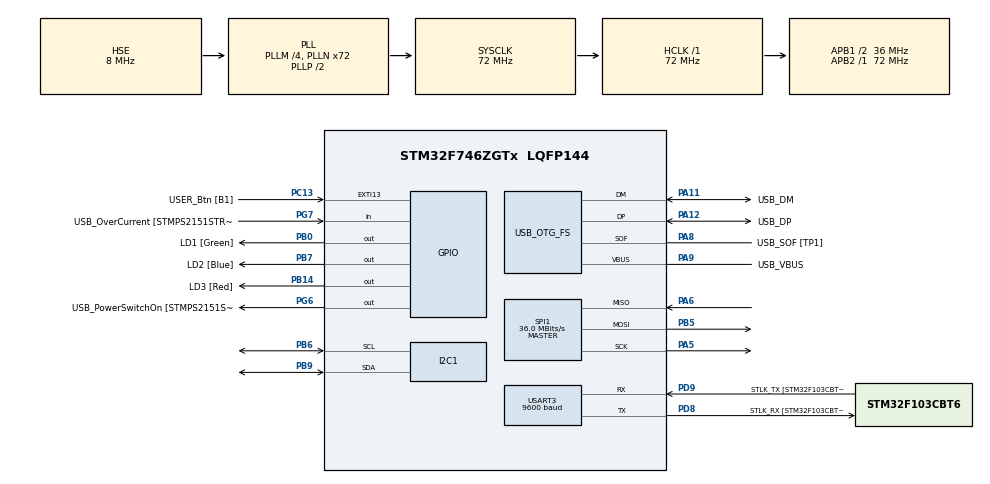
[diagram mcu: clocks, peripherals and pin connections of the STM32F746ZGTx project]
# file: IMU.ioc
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ARM.CMSIS.5.7.0.CMSISJjCORE=true
ARM.CMSIS.5.7.0.CMSISJjDSP=Library
FATFS._MAX_SS=4096
FATFS._MIN_SS=512
FATFS._USE_LFN=1
I2C1.Timing=0x00808CD2
Mcu.Family=STM32F7
Mcu.Name=STM32F746ZGTx
Mcu.Package=LQFP144
NVIC.PriorityGroup=NVIC_PRIORITYGROUP_4
NVIC.TIM1_BRK_TIM9_IRQn=true\:0\:0\:false\:false\:true\:true\:true\:true
NVIC.TIM1_CC_IRQn=true\:0\:0\:false\:false\:true\:true\:true\:true
NVIC.TIM1_TRG_COM_TIM11_IRQn=true\:0\:0\:false\:false\:true\:true\:true\:true
NVIC.TIM1_UP_TIM10_IRQn=true\:0\:0\:false\:false\:true\:true\:true\:true
PA1.GPIO_Label=RMII_REF_CLK [LAN8742A-CZ-TR_REFCLK0]
PA1.Signal=ETH_REF_CLK
PA10.GPIO_Label=USB_ID
PA10.Signal=USB_OTG_FS_ID
PA11.GPIO_Label=USB_DM
PA11.Mode=Device_Only
PA11.Signal=USB_OTG_FS_DM
PA12.GPIO_Label=USB_DP
PA12.Mode=Device_Only
PA12.Signal=USB_OTG_FS_DP
PA13.GPIO_Label=TMS
PA13.Mode=Serial_Wire
PA13.Signal=SYS_JTMS-SWDIO
PA14.GPIO_Label=TCK
PA14.Mode=Serial_Wire
PA14.Signal=SYS_JTCK-SWCLK
PA2.GPIO_Label=RMII_MDIO [LAN8742A-CZ-TR_MDIO]
PA2.Signal=ETH_MDIO
PA5.Mode=Full_Duplex_Master
PA5.Signal=SPI1_SCK
PA6.Mode=Full_Duplex_Master
PA6.Signal=SPI1_MISO
PA7.GPIO_Label=RMII_CRS_DV [LAN8742A-CZ-TR_CRS_DV]
PA7.Signal=ETH_CRS_DV
PA8.GPIO_Label=USB_SOF [TP1]
PA8.Mode=Activate_SOF_FS
PA8.Signal=USB_OTG_FS_SOF
PA9.GPIO_Label=USB_VBUS
PA9.Mode=Activate_VBUS
PA9.Signal=USB_OTG_FS_VBUS
PB0.GPIO_Label=LD1 [Green]
PB0.Signal=GPIO_Output
PB13.GPIO_Label=RMII_TXD1 [LAN8742A-CZ-TR_TXD1]
PB13.Signal=ETH_TXD1
PB14.GPIO_Label=LD3 [Red]
PB14.Signal=GPIO_Output
PB3.GPIO_Label=SW0
PB3.Signal=SYS_JTDO-SWO
PB5.Mode=Full_Duplex_Master
PB5.Signal=SPI1_MOSI
PB6.Mode=I2C
PB6.Signal=I2C1_SCL
PB7.GPIO_Label=LD2 [Blue]
PB7.Signal=GPIO_Output
PB9.Mode=I2C
PB9.Signal=I2C1_SDA
PC1.GPIO_Label=RMII_MDC [LAN8742A-CZ-TR_MDC]
PC1.Signal=ETH_MDC
PC13.GPIO_Label=USER_Btn [B1]
PC13.Signal=GPXTI13
PC14/OSC32_IN.Mode=LSE-External-Oscillator
PC14/OSC32_IN.Signal=RCC_OSC32_IN
PC15/OSC32_OUT.Mode=LSE-External-Oscillator
PC15/OSC32_OUT.Signal=RCC_OSC32_OUT
PC4.GPIO_Label=RMII_RXD0 [LAN8742A-CZ-TR_RXD0]
PC4.Signal=ETH_RXD0
PC5.GPIO_Label=RMII_RXD1 [LAN8742A-CZ-TR_RXD1]
PC5.Signal=ETH_RXD1
PD8.GPIO_Label=STLK_RX [STM32F103CBT6_PA3]
PD8.GPIO_PuPd=GPIO_PULLUP
PD8.Mode=Asynchronous
PD8.Signal=USART3_TX
PD9.GPIO_Label=STLK_TX [STM32F103CBT6_PA2]
PD9.GPIO_PuPd=GPIO_PULLUP
PD9.Mode=Asynchronous
PD9.Signal=USART3_RX
PG11.GPIO_Label=RMII_TX_EN [LAN8742A-CZ-TR_TXEN]
PG11.Signal=ETH_TX_EN
PG13.GPIO_Label=RMII_TXD0 [LAN8742A-CZ-TR_TXD0]
PG13.Signal=ETH_TXD0
PG6.GPIO_Label=USB_PowerSwitchOn [STMPS2151STR_EN]
PG6.Signal=GPIO_Output
PG7.GPIO_Label=USB_OverCurrent [STMPS2151STR_FAULT]
PG7.Signal=GPIO_Input
PH0/OSC_IN.GPIO_Label=MCO [STM32F103CBT6_PA8]
PH0/OSC_IN.Mode=HSE-External-Clock-Source
PH0/OSC_IN.Signal=RCC_OSC_IN
PH1/OSC_OUT.Mode=HSE-External-Clock-Source
PH1/OSC_OUT.Signal=RCC_OSC_OUT
ProjectManager.HeapSize=0x200
ProjectManager.StackSize=0x400
ProjectManager.TargetToolchain=STM32CubeIDE
RCC.48MHZClocksFreq_Value=24000000
RCC.AHBFreq_Value=72000000
RCC.APB1CLKDivider=RCC_HCLK_DIV2
RCC.APB1Freq_Value=36000000
RCC.APB1TimFreq_Value=72000000
RCC.APB2Freq_Value=72000000
RCC.APB2TimFreq_Value=72000000
RCC.CortexFreq_Value=72000000
RCC.HCLKFreq_Value=72000000
RCC.HSE_VALUE=8000000
RCC.HSI_VALUE=16000000
RCC.PLLM=4
RCC.PLLMUL=RCC_PLL_MUL9
RCC.PLLN=72
RCC.PLLQ=3
RCC.PRESCALERUSB=RCC_USBCLKSOURCE_PLL_DIV1_5
RCC.SYSCLKFreq_VALUE=72000000
RCC.SYSCLKSource=RCC_SYSCLKSOURCE_PLLCLK
RCC.SYSCLKSourceVirtual=RCC_SYSCLKSOURCE_PLLCLK
RCC.USBFreq_Value=48000000
RCC.VCOOutputFreq_Value=144000000
SPI1.BaudRatePrescaler=SPI_BAUDRATEPRESCALER_2
SPI1.CalculateBaudRate=36.0 MBits/s
SPI1.DataSize=SPI_DATASIZE_8BIT
SPI1.Direction=SPI_DIRECTION_2LINES
SPI1.Mode=SPI_MODE_MASTER
SPI1.VirtualType=VM_MASTER
TIM1.Period=3999
TIM1.Prescaler=71
USART3.BaudRate=9600
USART3.VirtualMode-Asynchronous=VM_ASYNC
USB_OTG_FS.VirtualMode=Device_Only
VP_ARM.CMSIS_VS_CMSISJjCORE_5.4.0_5.7.0.Mode=CMSISJjCORE
VP_ARM.CMSIS_VS_CMSISJjDSP_1.8.0_5.7.0.Mode=CMSISJjDSP
VP_FATFS_VS_Generic.Mode=User_defined
VP_TIM1_VS_ClockSourceINT.Mode=Internal
board=NUCLEO-F746ZG

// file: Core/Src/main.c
/* USER CODE BEGIN Header */
/**
  ******************************************************************************
  * @file           : main.c
  * @brief          : Main program body
  ******************************************************************************
  * @attention
  *
  * Copyright (c) 2023 STMicroelectronics.
  * All rights reserved.
  *
  * This software is licensed under terms that can be found in the LICENSE file
  * in the root directory of this software component.
  * If no LICENSE file comes with this software, it is provided AS-IS.
  *
  ******************************************************************************
  */
/* USER CODE END Header */
#include "main.h"
#include "fatfs.h"
#include "i2c.h"
#include "spi.h"
#include "tim.h"
#include "usart.h"
#include "usb_otg.h"
#include "gpio.h"

/* USER CODE BEGIN Includes */
#include "math.h"
#include "bmi160_wrapper.h"
#include "arm_math.h"
#include "stdbool.h"
#include "fatfs_sd.h"

//#include "stdint.h"
//#include "stdio.h"

/* USER CODE END Includes */

/* USER CODE BEGIN PTD */
BMI160_t imu_t;
/* USER CODE END PTD */

void SystemClock_Config(void);

/* USER CODE BEGIN 0 */

FATFS fs;
FIL fil;
FRESULT fresult;
char parametry[64];
UINT bw;

float f = 250.0;
float T = 0.004;

int counter_led = 0;

int sample_number = 0;
const int max_sample_number = 4500;

float acc_data[3][4500];	//max 24s of moving//POPRAWIC 4500
float gyro_data[3][4500];	//max 24s of moving//POPRAWIC 4500

//FILTER LP RAW DATA
float32_t coeffs_low[]={0.145323883877042, 0.290647767754085, 0.145323883877042, 0.671029090774096,  -0.252324626282266};

float32_t iir_state_gyro_x_low[4]={0., 0., 0., 0.};
float32_t iir_state_gyro_y_low[4]={0., 0., 0., 0.};
float32_t iir_state_gyro_z_low[4]={0., 0., 0., 0.};
float32_t iir_state_acc_x_low[4]={0., 0., 0., 0.};
float32_t iir_state_acc_y_low[4]={0., 0., 0., 0.};
float32_t iir_state_acc_z_low[4]={0., 0., 0., 0.};

arm_biquad_casd_df1_inst_f32 iir_filter_gyro_x_low;
arm_biquad_casd_df1_inst_f32 iir_filter_gyro_y_low;
arm_biquad_casd_df1_inst_f32 iir_filter_gyro_z_low;
arm_biquad_casd_df1_inst_f32 iir_filter_acc_x_low;
arm_biquad_casd_df1_inst_f32 iir_filter_acc_y_low;
arm_biquad_casd_df1_inst_f32 iir_filter_acc_z_low;

//FILTER HP ACC TOTAL
float32_t coeffs_acc_high[]={0.999995557126931, -1.999991114253863, 0.999995557126931, 1.999991114234124, -0.999991114273602};

float32_t iir_state_acc_high[4]={0., 0., 0., 0.};
arm_biquad_casd_df1_inst_f32 iir_filter_acc_high;

//FILTER LP ORIENTATION Z
float32_t coeffs_orientation_low[]={0.0000035436071, 0.0000070872142, 0.0000035436071, 1.99466855305249, -0.994682727480893};

float32_t iir_state_orientation_low[4]={0., 0., 0., 0.};
arm_biquad_casd_df1_inst_f32 iir_filter_orientation_low;

void filtr_raw_data()
{
	for(int i=0; i<sample_number; i++)
	{
		float actual = gyro_data[0][i];
		arm_biquad_cascade_df1_f32(&iir_filter_gyro_x_low, &actual, &gyro_data[0][i], 1);
		actual = gyro_data[1][i];
		arm_biquad_cascade_df1_f32(&iir_filter_gyro_y_low, &actual, &gyro_data[1][i], 1);
		actual = gyro_data[2][i];
		arm_biquad_cascade_df1_f32(&iir_filter_gyro_z_low, &actual, &gyro_data[2][i], 1);
		actual = acc_data[0][i];
		arm_biquad_cascade_df1_f32(&iir_filter_acc_x_low, &actual, &acc_data[0][i], 1);
		actual = acc_data[1][i];
		arm_biquad_cascade_df1_f32(&iir_filter_acc_y_low, &actual, &acc_data[1][i], 1);
		actual = acc_data[2][i];
		arm_biquad_cascade_df1_f32(&iir_filter_acc_z_low, &actual, &acc_data[2][i], 1);
	}
}

void calc_total_acc(float acc_total[])
{
	for(int i=0; i<sample_number; i++)
	{
		acc_total[i] = sqrt(acc_data[0][i]*acc_data[0][i]+acc_data[1][i]*acc_data[1][i]+acc_data[2][i]*acc_data[2][i]);
	}
}

float calc_mean(float acc_total[], int number_of_samples)
{
	if(number_of_samples > sample_number)
	{
		number_of_samples = sample_number;
	}

	float mean = 0.0;

	for(int i=0; i<number_of_samples; i++)
	{
		mean += acc_total[i];
	}

	mean /= (float)number_of_samples;
	return mean;
}

void filtr_total_acc(float acc_total[])
{
	iir_state_acc_high[0] = calc_mean(acc_total, 100);	//set initial values x[n-1]
	iir_state_acc_high[1] = iir_state_acc_high[0];	//set initial values x[n-2]

	for(int i=0; i<sample_number; i++)
	{
		float actual = acc_total[i];
		arm_biquad_cascade_df1_f32(&iir_filter_acc_high, &actual, &acc_total[i], 1);
	}
}

void find_no_move(float acc_total[], bool no_move[])
{
	int counter_of_no_move = 0;

	for(int i=0; i<sample_number; i++)
	{
		counter_of_no_move = 0;
		while(fabs(acc_total[i]) < 0.07 && i<sample_number)
		{
			counter_of_no_move++;
			i++;
		}

		if(counter_of_no_move >= 60)
		{
			for(int j=0; j<counter_of_no_move; j++)
			{
				no_move[i-1-j] = 1;
			}
		}
	}

	for(int i=0; i<250; i++)
	{
		no_move[i] = 1;
	}
}

void calc_orientation(float orientation[3][max_sample_number], bool no_move[])
{
	orientation[0][0] = 0.0;
	orientation[1][0] = 0.0;
	orientation[2][0] = 0.0;
	for(int i=1; i<sample_number; i++)
	{
		if(!no_move[i])
		{
			orientation[0][i] = orientation[0][i-1] + gyro_data[0][i]*T;
			orientation[1][i] = orientation[1][i-1] + gyro_data[1][i]*T;
			orientation[2][i] = orientation[2][i-1] + gyro_data[2][i]*T;
		}
		else
		{
			orientation[0][i] = atan2(acc_data[1][i], acc_data[2][i])*180/M_PI;
			orientation[1][i] = -atan2(acc_data[0][i], acc_data[2][i])*180/M_PI;
			orientation[2][i] = orientation[2][i-1];
		}
	}
}

void filtr_orientation_z(float orientation[3][max_sample_number])
{
	for(int i=0; i<sample_number; i++)
	{
		float actual = orientation[2][i];
		arm_biquad_cascade_df1_f32(&iir_filter_orientation_low, &actual, &orientation[2][i], 1);
	}
}

void rotation_of_axis(float orientation[3][max_sample_number])
{
	for(int i=0; i<sample_number; i++)
	{
		float s1 = sin(-orientation[0][i]*M_PI/180);
		float c1 = cos(-orientation[0][i]*M_PI/180);
		float s2 = sin(-orientation[1][i]*M_PI/180);
		float c2 = cos(-orientation[1][i]*M_PI/180);
		float s3 = sin(-orientation[2][i]*M_PI/180);
		float c3 = cos(-orientation[2][i]*M_PI/180);

		float accX = acc_data[0][i];
		float accY = acc_data[1][i];
		float accZ = acc_data[2][i];

		//rotation matrix
		acc_data[0][i] = (accX*c2 - accZ*s2)*9.81;
		acc_data[1][i] = (accY*c1 + accX*s1*s2 + accZ*c2*s1)*9.81;
		acc_data[2][i] = (accX*c1*s2 - accY*s1 + accZ*c1*c2)*9.81 - 9.81;

		float total_ax_rotated = fabs(acc_data[0][i])*0.3;

		acc_data[0][i] = c3*total_ax_rotated;
		acc_data[1][i] = s3*total_ax_rotated;
		acc_data[2][i] *= 1.2;
	}
}

void calc_velocity(float velocity[3][max_sample_number], bool no_move[])
{
	velocity[0][0] = 0.0;
	velocity[1][0] = 0.0;
	velocity[2][0] = 0.0;
	for(int i=1; i<sample_number; i++)
	{
		if(!no_move[i])
		{
			velocity[0][i] = velocity[0][i-1] + acc_data[0][i]*T;
			velocity[1][i] = velocity[1][i-1] + acc_data[1][i]*T;
			velocity[2][i] = velocity[2][i-1] + acc_data[2][i]*T;
		}
		else
		{
			velocity[0][i] = 0;
			velocity[1][i] = 0;
			velocity[2][i] = 0;
		}
	}
}

void velocity_compensation(float velocity[3][max_sample_number], bool no_move[])
{
	int i = 0;
	int i_first_sample_with_move = 0;
	int i_last_sample_with_move = 0;
	float velZ_end_step = 0.0;
	int time_of_step = 0;

	while(i < sample_number-1)
	{
		while(no_move[i] && i < sample_number-1)
		{
			i++;
		}
		i_first_sample_with_move = i;
		while(!no_move[i] && i < sample_number-1)
		{
			i++;
		}
		i_last_sample_with_move = i-1;
		velZ_end_step = velocity[2][i_last_sample_with_move]*0.5;
		time_of_step = i_last_sample_with_move-i_first_sample_with_move;

		if(time_of_step > 50)
		{
			for(int j=i_first_sample_with_move; j<=i_last_sample_with_move; j++)
			{
				velocity[2][j] = velocity[2][j] - (velZ_end_step/time_of_step)*(j-i_first_sample_with_move);
			}
		}
	}
}

void calc_position(float position[3][max_sample_number], float velocity[3][max_sample_number])
{
	position[0][0] = 0.0;
	position[1][0] = 0.0;
	position[2][0] = 0.0;
	for(int i=1; i<sample_number; i++)
	{
		position[0][i] = position[0][i-1] + velocity[0][i]*T;
		position[1][i] = position[1][i-1] + velocity[1][i]*T;
		position[2][i] = position[2][i-1] + velocity[2][i]*T;
	}
}

void corection_in_flat_move(float position[3][max_sample_number], float velocity[3][max_sample_number], bool no_move[])
{
	int samples_in_step = 0;
	int number_of_steps = 0;
	int i=0;

	while(i < sample_number-1)
	{
		i++;
		while(!no_move[i] && i < sample_number-1)
		{
			i++;
			samples_in_step++;
		}
		if(samples_in_step > f*0.3)
		{
			number_of_steps++;
		}
		samples_in_step = 0;
	}

	int i_last_sample_without_move = 0;
	int i_next_sample_without_move = 0;

	float height = position[2][sample_number-1];
	if(fabs(height/number_of_steps) < 0.07)
	{
		i = 0;
		while(i < sample_number-1)
		{
			while(no_move[i] && i < sample_number-1)
			{
				i++;
			}
			i_last_sample_without_move = i-1;
			while(!no_move[i] && i < sample_number-1)
			{
				i++;
			}
			i_next_sample_without_move = i;

			float dH = position[2][i_next_sample_without_move]-position[2][i_last_sample_without_move];
			float all_Z_move = 0.0;
			for(int j=i_last_sample_without_move; j<i_next_sample_without_move+1;j++)
			{
				all_Z_move += fabs(velocity[2][j]*T);
			}
			float Z_move_down = (all_Z_move-dH)/2.0;
			float Z_move_up = all_Z_move - Z_move_down;

			if(fabs(Z_move_down) > 0.00001)
			{
				float vel_correction_ratio = Z_move_up/Z_move_down;

				for(int j=i_last_sample_without_move; j<i_next_sample_without_move+1;j++)
				{
					if(velocity[2][j] < 0.0)
					{
						velocity[2][j] = velocity[2][j]*vel_correction_ratio;
					}

				}
			}
		}

	}

	calc_position(position, velocity);
}

void print(float orientation[3][max_sample_number], float position[3][max_sample_number], float acc_total[max_sample_number], float velocity[3][max_sample_number])
{
	fresult = f_mount(&fs,"",0);
	fresult = f_open(&fil, "dane.csv", FA_OPEN_ALWAYS | FA_READ | FA_WRITE);
	for(int i=0; i<sample_number; i++)
	{
		  char text[200];
		  int length = sprintf(text, "%.2f;%.2f;%.2f;%.4f;%.4f;%.4f;%.2f;%.2f;%.2f;%.2f;%.2f;%.2f;%.2f;%.2f;%.2f;%.2f;\r\n", orientation[0][i], orientation[1][i], orientation[2][i], position[0][i], position[1][i], position[2][i], acc_total[i], velocity[0][i], velocity[1][i], velocity[2][i], gyro_data[0][i], gyro_data[1][i], gyro_data[2][i], acc_data[0][i], acc_data[1][i], acc_data[2][i]);
			//int parametry_len = sprintf (parametry,"Text written from STM32");
			fresult = f_lseek(&fil,f_size(&fil));
			fresult = f_write(&fil,text,length,&bw);
		  //HAL_UART_Transmit(&huart3, (uint8_t*)text, length, 1000);
	}
	f_close(&fil);
	fresult = f_mount(NULL,"",1);
}

void print_raw()
{
	for(int i=0; i<sample_number; i++)
	{
		  char text[200];
		  int length = sprintf(text, "%.2f;%.2f;%.2f;%.2f;%.2f;%.2f;\r\n", gyro_data[0][i], gyro_data[1][i], gyro_data[2][i], acc_data[0][i], acc_data[1][i], acc_data[2][i]);

		  //HAL_UART_Transmit(&huart3, (uint8_t*)text, length, 1000);
	}
}

void print_tab(float tab[max_sample_number])
{
	for(int i=0; i<sample_number; i++)
	{
		  char text[200];
		  int length = sprintf(text, "%.2f;\r\n", tab[i]);

		  HAL_UART_Transmit(&huart3, (uint8_t*)text, length, 1000);
	}
}

void print_text(char text[4], int length)
{
	HAL_UART_Transmit(&huart3, (uint8_t*)text, length, 1000);
}

void calculate()
{
	float acc_total[max_sample_number];
	bool no_move[max_sample_number];

	float velocity[3][max_sample_number];

	float position[3][max_sample_number];
	float orientation[3][max_sample_number];

	for(int i=0; i<max_sample_number; i++)
	{
		acc_total[i] = 0.0;
		no_move[i] = 0;
		velocity[0][i] = 0.0;
		velocity[1][i] = 0.0;
		velocity[2][i] = 0.0;
		position[0][i] = 0.0;
		position[1][i] = 0.0;
		position[2][i] = 0.0;
		orientation[0][i] = 0.0;
		orientation[1][i] = 0.0;
		orientation[2][i] = 0.0;
	}

	filtr_raw_data();

	calc_total_acc(acc_total);

	filtr_total_acc(acc_total);

	find_no_move(acc_total, no_move);

	calc_orientation(orientation, no_move);

	filtr_orientation_z(orientation);

	rotation_of_axis(orientation);

	calc_velocity(velocity, no_move);

	velocity_compensation(velocity, no_move);

	calc_position(position, velocity);
	corection_in_flat_move(position, velocity, no_move);

	HAL_GPIO_WritePin(LD1_GPIO_Port, LD1_Pin, GPIO_PIN_SET);
    HAL_GPIO_WritePin(LD2_GPIO_Port, LD2_Pin, GPIO_PIN_RESET);
    HAL_GPIO_WritePin(LD3_GPIO_Port, LD3_Pin, GPIO_PIN_RESET);
	print(orientation, position, acc_total, velocity);

}

void send_uart (char* string)
{
	uint8_t len = strlen(string);
	HAL_UART_Transmit(&huart3, string, len, 2000);
}

void HAL_TIM_PeriodElapsedCallback(TIM_HandleTypeDef *htim)
{
	  if (htim->Instance == TIM1)
	  {
		  bmi160ReadAccelGyro(&imu_t);

		  if(sample_number < max_sample_number)
		  {
			  gyro_data[0][sample_number] = imu_t.BMI160_Gx_f32;
			  gyro_data[1][sample_number] = imu_t.BMI160_Gy_f32;
			  gyro_data[2][sample_number] = imu_t.BMI160_Gz_f32;

			  acc_data[0][sample_number] = imu_t.BMI160_Ax_f32;
			  acc_data[1][sample_number] = imu_t.BMI160_Ay_f32;
			  acc_data[2][sample_number] = imu_t.BMI160_Az_f32;

			  sample_number++;

			  if(counter_led >= f/2)
			  {
				  HAL_GPIO_TogglePin(LD3_GPIO_Port, LD3_Pin);
				  counter_led = 0;
			  }

			  counter_led++;
		  }
	  }
}
/* USER CODE END 0 */

int main(void)
{

  /* MCU Configuration--------------------------------------------------------*/

  /* Reset of all peripherals, Initializes the Flash interface and the Systick. */
  HAL_Init();

  /* Configure the system clock */
  SystemClock_Config();

  /* Initialize all configured peripherals */
  MX_GPIO_Init();
  MX_USART3_UART_Init();
  MX_USB_OTG_FS_PCD_Init();
  MX_I2C1_Init();
  MX_TIM1_Init();
  MX_SPI1_Init();
  MX_FATFS_Init();
  /* USER CODE BEGIN 2 */
  arm_biquad_cascade_df1_init_f32(&iir_filter_gyro_x_low, 1, coeffs_low, iir_state_gyro_x_low);
  arm_biquad_cascade_df1_init_f32(&iir_filter_gyro_y_low, 1, coeffs_low, iir_state_gyro_y_low);
  arm_biquad_cascade_df1_init_f32(&iir_filter_gyro_z_low, 1, coeffs_low, iir_state_gyro_z_low);
  arm_biquad_cascade_df1_init_f32(&iir_filter_acc_x_low, 1, coeffs_low, iir_state_acc_x_low);
  arm_biquad_cascade_df1_init_f32(&iir_filter_acc_y_low, 1, coeffs_low, iir_state_acc_y_low);
  arm_biquad_cascade_df1_init_f32(&iir_filter_acc_z_low, 1, coeffs_low, iir_state_acc_z_low);

  arm_biquad_cascade_df1_init_f32(&iir_filter_acc_high, 1, coeffs_acc_high, iir_state_acc_high);

  arm_biquad_cascade_df1_init_f32(&iir_filter_orientation_low, 1, coeffs_orientation_low, iir_state_orientation_low);

  while(HAL_GPIO_ReadPin(USER_Btn_GPIO_Port, USER_Btn_Pin) == GPIO_PIN_RESET)
  {
	  HAL_Delay(100);
  }

  HAL_Delay(100);

  HAL_GPIO_WritePin(LD1_GPIO_Port, LD1_Pin, GPIO_PIN_SET);
  HAL_Delay(500);

  //calibration
  while (BMI160_init(imu_t) == 1){;}

    HAL_Delay(5000);

    HAL_GPIO_WritePin(LD2_GPIO_Port, LD2_Pin, GPIO_PIN_SET);
    //end of calibration

    while(HAL_GPIO_ReadPin(USER_Btn_GPIO_Port, USER_Btn_Pin) == GPIO_PIN_RESET)
    {
	    HAL_Delay(100);
    }

    HAL_Delay(1000);

    HAL_TIM_Base_Start_IT(&htim1);

  /* USER CODE END 2 */

  /* Infinite loop */
  while (1)
  {

    /* USER CODE BEGIN 3 */

	  if(HAL_GPIO_ReadPin(USER_Btn_GPIO_Port, USER_Btn_Pin) == GPIO_PIN_SET)
	  {
		  HAL_TIM_Base_Stop_IT(&htim1);
		  HAL_GPIO_WritePin(LD1_GPIO_Port, LD1_Pin, GPIO_PIN_RESET);
		  HAL_GPIO_WritePin(LD2_GPIO_Port, LD2_Pin, GPIO_PIN_RESET);
		  HAL_GPIO_WritePin(LD3_GPIO_Port, LD3_Pin, GPIO_PIN_RESET);

		  HAL_Delay(100);

		  calculate();

		  HAL_GPIO_WritePin(LD1_GPIO_Port, LD1_Pin, GPIO_PIN_RESET);
		  HAL_GPIO_WritePin(LD2_GPIO_Port, LD2_Pin, GPIO_PIN_SET);
		  HAL_GPIO_WritePin(LD3_GPIO_Port, LD3_Pin, GPIO_PIN_SET);
	  }

	  HAL_Delay(500);

  }
  /* USER CODE END 3 */
}

void SystemClock_Config(void)
{
  RCC_OscInitTypeDef RCC_OscInitStruct = {0};
  RCC_ClkInitTypeDef RCC_ClkInitStruct = {0};

  /** Configure LSE Drive Capability
  */
  HAL_PWR_EnableBkUpAccess();

  /** Configure the main internal regulator output voltage
  */
  __HAL_RCC_PWR_CLK_ENABLE();
  __HAL_PWR_VOLTAGESCALING_CONFIG(PWR_REGULATOR_VOLTAGE_SCALE3);

  /** Initializes the RCC Oscillators according to the specified parameters
  * in the RCC_OscInitTypeDef structure.
  */
  RCC_OscInitStruct.OscillatorType = RCC_OSCILLATORTYPE_HSE;
  RCC_OscInitStruct.HSEState = RCC_HSE_BYPASS;
  RCC_OscInitStruct.PLL.PLLState = RCC_PLL_ON;
  RCC_OscInitStruct.PLL.PLLSource = RCC_PLLSOURCE_HSE;
  RCC_OscInitStruct.PLL.PLLM = 4;
  RCC_OscInitStruct.PLL.PLLN = 72;
  RCC_OscInitStruct.PLL.PLLP = RCC_PLLP_DIV2;
  RCC_OscInitStruct.PLL.PLLQ = 3;
  if (HAL_RCC_OscConfig(&RCC_OscInitStruct) != HAL_OK)
  {
    Error_Handler();
  }

  /** Initializes the CPU, AHB and APB buses clocks
  */
  RCC_ClkInitStruct.ClockType = RCC_CLOCKTYPE_HCLK|RCC_CLOCKTYPE_SYSCLK
                              |RCC_CLOCKTYPE_PCLK1|RCC_CLOCKTYPE_PCLK2;
  RCC_ClkInitStruct.SYSCLKSource = RCC_SYSCLKSOURCE_PLLCLK;
  RCC_ClkInitStruct.AHBCLKDivider = RCC_SYSCLK_DIV1;
  RCC_ClkInitStruct.APB1CLKDivider = RCC_HCLK_DIV2;
  RCC_ClkInitStruct.APB2CLKDivider = RCC_HCLK_DIV1;

  if (HAL_RCC_ClockConfig(&RCC_ClkInitStruct, FLASH_LATENCY_2) != HAL_OK)
  {
    Error_Handler();
  }
}

void Error_Handler(void)
{
  __disable_irq();
  while (1)
  {
  }
}
